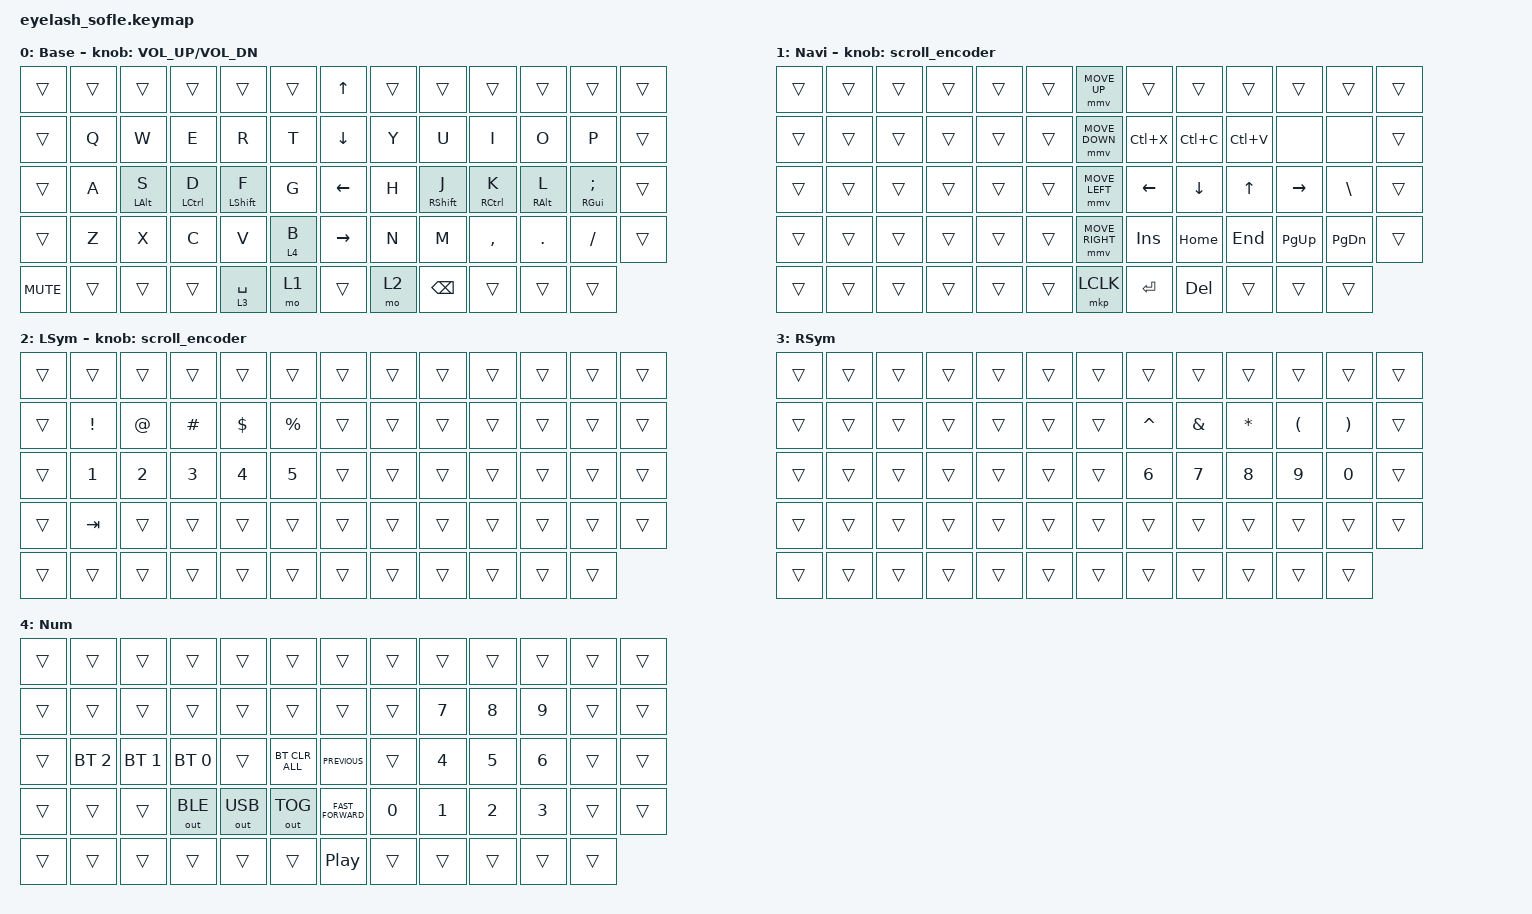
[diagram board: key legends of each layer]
#define ZMK_POINTING_DEFAULT_MOVE_VAL 1200  // 600
#define ZMK_POINTING_DEFAULT_SCRL_VAL 35    // 10
#define JP_UNDERSCORE   LS(0x87)          // _

#include <input/processors.dtsi>
#include <zephyr/dt-bindings/input/input-event-codes.h>
#include <behaviors.dtsi>
#include <dt-bindings/zmk/bt.h>
#include <dt-bindings/zmk/keys.h>
#include <dt-bindings/zmk/outputs.h>
#include <dt-bindings/zmk/pointing.h>

/ {
    zip_scroll_scaler: zip_scroll_scaler {
        compatible = "zmk,input-processor-scaler";
        #input-processor-cells = <2>;
        type = <INPUT_EV_REL>;
        codes = <INPUT_REL_WHEEL INPUT_REL_HWHEEL>;
        track-remainders;
    };
};

&mmv_input_listener { input-processors = <&zip_xy_scaler 2 1>; };

&msc_input_listener { input-processors = <&zip_scroll_scaler 2 1>; };

&msc {
    acceleration-exponent = <0>;      // 0
    time-to-max-speed-ms = <0>;       // 300
    delay-ms = <0>;                   // 0
};

&mmv {
    time-to-max-speed-ms = <400>;
    acceleration-exponent = <1>;
};

&mt { tapping-term-ms = <350>; };

/ {
    scroll_encoder: scroll_encoder {
        compatible = "zmk,behavior-sensor-rotate";
        #sensor-binding-cells = <0>;
        bindings = <&msc SCRL_DOWN>, <&msc SCRL_UP>;

        tap-ms = <30>;
    };

    behaviors {
    };

    combos {
        compatible = "zmk,combos";

        kp_Tilde {
            bindings = <&kp LS(GRAVE)>;
            key-positions = <27 28>;
            layers = <0>;
        };

        kp_Grave {
            bindings = <&kp GRAVE>;
            key-positions = <40 41>;
            layers = <0>;
        };

        kp_Escape {
            bindings = <&kp ESCAPE>;
            key-positions = <14 15>;
            layers = <0>;
        };

        kp_Apostrophe {
            bindings = <&kp APOSTROPHE>;
            key-positions = <49 50>;
            layers = <0>;
        };

        kp_DoubleQuote {
            bindings = <&kp LS(APOSTROPHE)>;
            key-positions = <36 37>;
            layers = <0>;
        };

        kp_LeftParenthesis {
            bindings = <&kp LEFT_PARENTHESIS>;
            key-positions = <16 17>;
            layers = <0>;
        };

        kp_LeftBrace {
            bindings = <&kp LS(LEFT_BRACKET)>;
            key-positions = <29 30>;
            layers = <0>;
        };

        kp_LeftBracket {
            bindings = <&kp LEFT_BRACKET>;
            key-positions = <42 43>;
            layers = <0>;
        };

        kp_RightParenthesis {
            bindings = <&kp RIGHT_PARENTHESIS>;
            key-positions = <21 22>;
            layers = <0>;
        };

        kp_RightBrace {
            bindings = <&kp LS(RIGHT_BRACKET)>;
            key-positions = <34 35>;
            layers = <0>;
        };

        kp_RightBracket {
            bindings = <&kp RIGHT_BRACKET>;
            key-positions = <47 48>;
            layers = <0>;
        };

        kp_Equal {
            bindings = <&kp EQUAL>;
            key-positions = <48 49>;
            layers = <0>;
        };

        kp_Plus {
            bindings = <&kp RS(EQUAL)>;
            key-positions = <35 36>;
            layers = <0>;
        };

        kp_Minus {
            bindings = <&kp MINUS>;
            key-positions = <46 47>;
            layers = <0>;
        };

        kp_Underscore {
            bindings = <&kp RS(MINUS)>;
            key-positions = <33 34>;
            layers = <0>;
        };

        kp_Backslash {
            bindings = <&kp BACKSLASH>;
            key-positions = <48 50>;
            layers = <0>;
        };

        kp_Pipe {
            bindings = <&kp RS(BACKSLASH)>;
            key-positions = <35 37>;
            layers = <0>;
        };

        CapsWord {
            bindings = <&caps_word>;
            key-positions = <30 34>;
            layers = <0>;
        };

        kp_JisUnderscore {
            bindings = <&kp JP_UNDERSCORE>;
            key-positions = <33 34>;
            layers = <1>;
        };
    };

    keymap {
        compatible = "zmk,keymap";

        Base {
            bindings = <
&trans      &trans  &trans          &trans              &trans            &trans     &kp UP_ARROW     &trans  &trans             &trans               &trans           &trans              &trans
&trans      &kp Q   &kp W           &kp E               &kp R             &kp T      &kp DOWN_ARROW   &kp Y   &kp U              &kp I                &kp O            &kp P               &trans
&trans      &kp A   &mt LEFT_ALT S  &mt LEFT_CONTROL D  &mt LEFT_SHIFT F  &kp G      &kp LEFT_ARROW   &kp H   &mt RIGHT_SHIFT J  &mt RIGHT_CONTROL K  &mt RIGHT_ALT L  &mt RIGHT_GUI SEMI  &trans
&trans      &kp Z   &kp X           &kp C               &kp V             &lt 4 B    &kp RIGHT_ARROW  &kp N   &kp M              &kp COMMA            &kp DOT          &kp FSLH            &trans
&kp C_MUTE  &trans  &trans          &trans              &lt 3 SPACE       &mo 1      &trans           &mo 2   &kp BACKSPACE      &trans               &trans           &trans
            >;

            sensor-bindings = <&inc_dec_kp C_VOLUME_UP C_VOL_DN>;
            display-name = "Base";
        };

        Navi {
            bindings = <
&trans  &trans  &trans  &trans  &trans  &trans    &mmv MOVE_UP     &trans      &trans      &trans        &trans       &trans         &trans
&trans  &trans  &trans  &trans  &trans  &trans    &mmv MOVE_DOWN   &kp LC(X)   &kp LC(C)   &kp LC(V)     &none        &none          &trans
&trans  &trans  &trans  &trans  &trans  &trans    &mmv MOVE_LEFT   &kp LEFT    &kp DOWN    &kp UP_ARROW  &kp RIGHT    &kp BACKSLASH  &trans
&trans  &trans  &trans  &trans  &trans  &trans    &mmv MOVE_RIGHT  &kp INS     &kp HOME    &kp END       &kp PAGE_UP  &kp PAGE_DOWN  &trans
&trans  &trans  &trans  &trans  &trans  &trans    &mkp LCLK        &kp RETURN  &kp DELETE  &trans        &trans       &trans
            >;

            display-name = "Navi";
            sensor-bindings = <&scroll_encoder>;
        };

        LSym {
            bindings = <
&trans  &trans           &trans        &trans        &trans        &trans          &trans  &trans  &trans  &trans  &trans  &trans  &trans
&trans  &kp EXCLAMATION  &kp AT_SIGN   &kp HASH      &kp DOLLAR    &kp PERCENT     &trans  &trans  &trans  &trans  &trans  &trans  &trans
&trans  &kp NUMBER_1     &kp NUMBER_2  &kp NUMBER_3  &kp NUMBER_4  &kp NUMBER_5    &trans  &trans  &trans  &trans  &trans  &trans  &trans
&trans  &kp TAB          &trans        &trans        &trans        &trans          &trans  &trans  &trans  &trans  &trans  &trans  &trans
&trans  &trans           &trans        &trans        &trans        &trans          &trans  &trans  &trans  &trans  &trans  &trans
            >;

            sensor-bindings = <&scroll_encoder>;
            label = "LSym";
        };

        RSym {
            bindings = <
&trans  &trans  &trans  &trans  &trans  &trans    &trans  &trans        &trans         &trans        &trans                &trans                 &trans
&trans  &trans  &trans  &trans  &trans  &trans    &trans  &kp CARET     &kp AMPERSAND  &kp ASTERISK  &kp LEFT_PARENTHESIS  &kp RIGHT_PARENTHESIS  &trans
&trans  &trans  &trans  &trans  &trans  &trans    &trans  &kp NUMBER_6  &kp NUMBER_7   &kp NUMBER_8  &kp NUMBER_9          &kp NUMBER_0           &trans
&trans  &trans  &trans  &trans  &trans  &trans    &trans  &trans        &trans         &trans        &trans                &trans                 &trans
&trans  &trans  &trans  &trans  &trans  &trans    &trans  &trans        &trans         &trans        &trans                &trans
            >;

            label = "RSym";
        };

        Num {
            bindings = <
&trans  &trans        &trans        &trans        &trans        &trans            &trans              &trans        &trans        &trans        &trans        &trans  &trans
&trans  &trans        &trans        &trans        &trans        &trans            &trans              &trans        &kp NUMBER_7  &kp NUMBER_8  &kp N9        &trans  &trans
&trans  &bt BT_SEL 2  &bt BT_SEL 1  &bt BT_SEL 0  &trans        &bt BT_CLR_ALL    &kp C_PREVIOUS      &trans        &kp NUMBER_4  &kp NUMBER_5  &kp NUMBER_6  &trans  &trans
&trans  &trans        &trans        &out OUT_BLE  &out OUT_USB  &out OUT_TOG      &kp C_FAST_FORWARD  &kp NUMBER_0  &kp NUMBER_1  &kp NUMBER_2  &kp NUMBER_3  &trans  &trans
&trans  &trans        &trans        &trans        &trans        &trans            &kp C_PLAY_PAUSE    &trans        &trans        &trans        &trans        &trans
            >;

            label = "Num";
        };
    };
};
